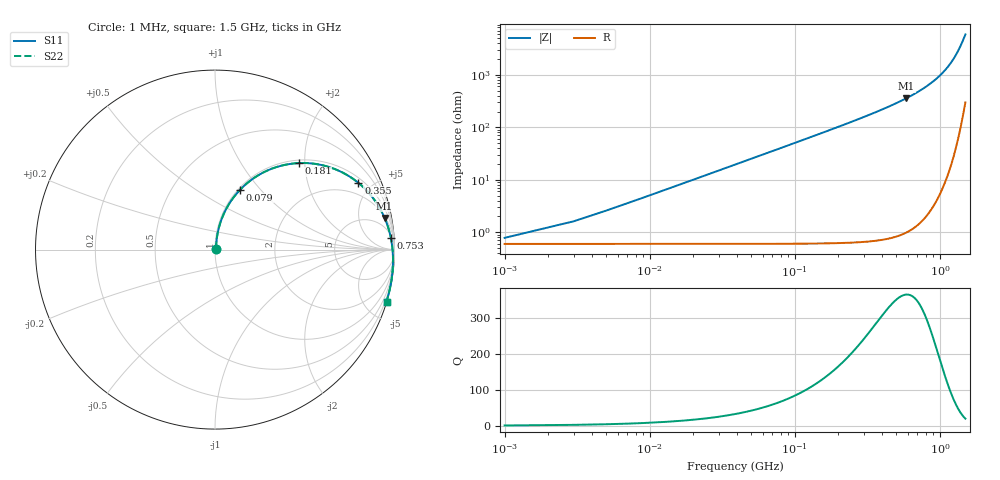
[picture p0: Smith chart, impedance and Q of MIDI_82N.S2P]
! Coilcraft 1812SMS-82N Midi Spring Air Core Inductor
! 10 June 2003
# MHZ S MA R 50
!Freq  MagS11  AngS11  MagS21  AngS21  MagS12  AngS12  MagS22  AngS22
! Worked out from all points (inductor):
!   751 points, 1 MHz to 1.5 GHz, reference 50 ohm
!   read as one part in series: L = 79.6 nH near 7 MHz
!   highest Q = 364 at 587 MHz (marker M1), where L = 96.9 nH
!   S11 on the Smith chart (normalised r, x): 1 MHz: 1.01, +0.01; 79 MHz: 1.02, +0.78; 181 MHz: 1.06, +1.86; 355 MHz: 1.25, +4.16; 753 MHz: 7, +27; 1.5 GHz: 0.03, -6.74
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1  0.007695 39.2  0.9941 -0.3  0.9941 -0.3  0.007697 39.3
5  0.02519 74.9  0.9938 -1.4  0.9938 -1.4  0.0252 74.9
9  0.04444 79.7  0.9931 -2.6  0.9931 -2.6  0.04445 79.7
11  0.05413 80.5  0.9926 -3.2  0.9926 -3.2  0.05415 80.5
17  0.0832 81.0  0.9906 -4.9  0.9906 -4.9  0.08323 81.0
23  0.1121 80.4  0.9878 -6.6  0.9878 -6.6  0.1122 80.4
33  0.1598 78.4  0.9813 -9.5  0.9813 -9.5  0.1598 78.4
45  0.2155 75.6  0.9707 -12.8  0.9707 -12.8  0.2156 75.6
61  0.2869 71.7  0.9523 -17.2  0.9523 -17.2  0.287 71.7
79  0.362 67.2  0.9266 -21.9  0.9266 -21.9  0.3621 67.2
123  0.5192 57.1  0.8495 -32.3  0.8495 -32.3  0.5193 57.1
181  0.6699 46.0  0.7378 -43.6  0.7378 -43.6  0.6702 46.0
251  0.7862 35.7  0.6139 -54.0  0.6139 -54.0  0.7865 35.7
355  0.8811 24.9  0.4694 -64.8  0.4694 -64.8  0.8814 24.9
501  0.9426 14.9  0.3307 -74.9  0.3307 -74.9  0.9429 14.9
587  0.9614 10.6  0.2718 -79.3  0.2718 -79.3  0.9617 10.6
751  0.9814 4.0  0.1879 -85.8  0.1879 -85.8  0.9817 4.0
753  0.9815 3.9  0.1871 -85.9  0.1871 -85.9  0.9819 3.9
1001  0.9939 -3.8  0.1025 -93.5  0.1025 -93.5  0.9943 -3.8
1251  0.9979 -10.5  0.04769 -99.6  0.04769 -99.6  0.9982 -10.5
1363  0.9984 -13.3  0.03083 -101.9  0.03083 -101.9  0.9987 -13.3
1500  0.9986 -16.9  0.0166 -104.0  0.0166 -104.0  0.9989 -16.9
